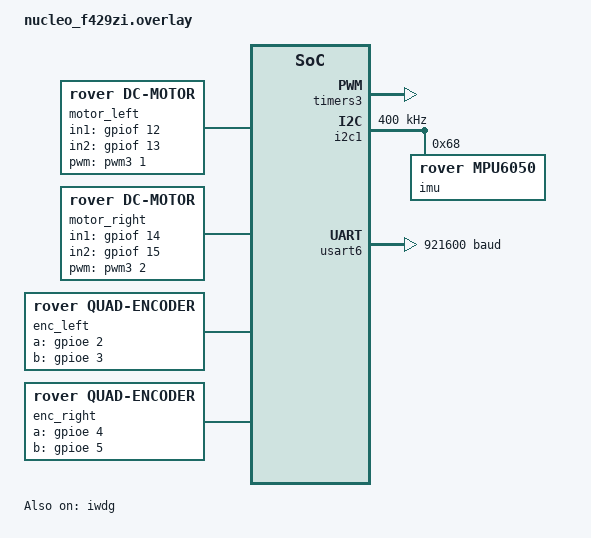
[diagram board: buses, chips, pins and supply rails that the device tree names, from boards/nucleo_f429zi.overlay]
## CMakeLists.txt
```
cmake_minimum_required(VERSION 3.20.0)
# micro-ROS is optional: it needs the extra west group and a ROS toolchain at build time.
if(ROVER_MICROROS OR "$ENV{ROVER_MICROROS}")
  list(APPEND ZEPHYR_EXTRA_MODULES
       ${CMAKE_CURRENT_LIST_DIR}/../../modules/lib/micro_ros_zephyr_module/modules/libmicroros)
endif()

find_package(Zephyr REQUIRED HINTS $ENV{ZEPHYR_BASE})
project(rover_firmware)

target_sources(app PRIVATE
  src/main.c
  src/control.c
  src/imu_task.c
  src/safety.c
  src/shell_cmds.c
)

target_sources_ifdef(CONFIG_ROVER_MICROROS app PRIVATE src/microros_link.c)
```

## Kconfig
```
mainmenu "Rover firmware"

config ROVER_CONFIRM_AFTER_MS
	int "Healthy run time before the new image is confirmed (ms)"
	default 3000
	help
	  MCUboot boots a freshly uploaded image in test mode. If it resets
	  before being confirmed (crash, watchdog), MCUboot swaps the previous
	  image back. The supervisor confirms only after this much continuous
	  healthy operation.

config ROVER_MICROROS
	bool "micro-ROS link to the Raspberry Pi"
	help
	  Needs the optional micro_ros_zephyr_module (west group "microros") and
	  the overlay app/microros.conf. See docs/microros.md.

config ROVER_TEST_BAD_IMAGE
	bool "Fault injection: hang one second after boot"
	help
	  Builds an intentionally broken image for exercising the rollback
	  path. The watchdog resets the chip before the image is confirmed, so
	  MCUboot must revert to the previous slot. Never enable in production.

source "Kconfig.zephyr"
```

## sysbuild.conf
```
# Build MCUboot alongside the app and sign the app image (ECDSA P-256).
# The default key is MCUboot's public development key: replace it for any real
# deployment (imgtool keygen) and keep the private key out of the repo.
SB_CONFIG_BOOTLOADER_MCUBOOT=y
SB_CONFIG_BOOT_SIGNATURE_TYPE_ECDSA_P256=y
SB_CONFIG_MCUBOOT_MODE_SWAP_SCRATCH=y
```

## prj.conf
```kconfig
CONFIG_GPIO=y
CONFIG_I2C=y
CONFIG_SENSOR=y
CONFIG_PWM=y
CONFIG_WATCHDOG=y
CONFIG_HWINFO=y
CONFIG_FLASH=y
CONFIG_FLASH_MAP=y
CONFIG_FPU=y
CONFIG_PICOLIBC=y
CONFIG_CBPRINTF_FP_SUPPORT=y

CONFIG_LOG=y
CONFIG_SHELL=y
CONFIG_SERIAL=y
CONFIG_CONSOLE=y
CONFIG_UART_CONSOLE=y

CONFIG_ASSERT=y
CONFIG_MAIN_STACK_SIZE=2048
CONFIG_SYS_CLOCK_TICKS_PER_SEC=10000
CONFIG_CRC=y

# MCUboot: image is confirmed by the app once it has proven itself healthy
CONFIG_BOOTLOADER_MCUBOOT=y
CONFIG_MCUBOOT_IMG_MANAGER=y
CONFIG_IMG_MANAGER=y
CONFIG_STREAM_FLASH=y

# Also emit zephyr.signed.confirmed.{bin,hex}: the image to flash the first time, marked as already
# confirmed. Over-the-air updates use the plain signed image so they stay in test mode.
CONFIG_MCUBOOT_GENERATE_CONFIRMED_IMAGE=y
```

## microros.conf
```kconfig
# Overlay for micro-ROS builds: west build ... -- -DEXTRA_CONF_FILE=microros.conf -DROVER_MICROROS=ON
# libmicroros needs newlib and the POSIX API; the default build uses picolibc.
CONFIG_ROVER_MICROROS=y
CONFIG_MICROROS=y
CONFIG_PICOLIBC=n
CONFIG_NEWLIB_LIBC=y
CONFIG_NEWLIB_LIBC_NANO=n
CONFIG_POSIX_API=y
CONFIG_CPP=y
CONFIG_UART_INTERRUPT_DRIVEN=y
CONFIG_RING_BUFFER=y
CONFIG_MAIN_STACK_SIZE=4096
```

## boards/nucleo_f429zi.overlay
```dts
/*
 * Rover pin map for NUCLEO-F429ZI.
 *
 *   IMU (I2C1)        PB8 SCL, PB9 SDA            (board default)
 *   Left motor        PWM TIM3_CH1 PC6, IN1 PF12, IN2 PF13
 *   Right motor       PWM TIM3_CH2 PC7, IN1 PF14, IN2 PF15
 *   Left encoder      A PE2, B PE3
 *   Right encoder     A PE4, B PE5
 *   Host link         USART6 PG14 TX, PG9 RX      (micro-ROS to the Pi)
 *   Console / shell   USART3 PD8/PD9              (ST-Link virtual COM)
 *
 * Encoder pins use distinct pin numbers (2..5) so no two share an EXTI line.
 *
 * Flash (2 MB): MCUboot 32K | storage 64K (fault log) | slot0 256K |
 * slot1 256K | scratch 128K, as defined by the board plus the storage
 * partition added below.
 */
#include <zephyr/dt-bindings/pwm/pwm.h>
#include <zephyr/dt-bindings/gpio/gpio.h>

/ {
	aliases {
		rover-imu = &imu;
		rover-motor-left = &motor_left;
		rover-motor-right = &motor_right;
		rover-enc-left = &enc_left;
		rover-enc-right = &enc_right;
		rover-link-uart = &usart6;
		watchdog0 = &iwdg;
	};

	motor_left: motor-left {
		compatible = "rover,dc-motor";
		pwms = <&pwm3 1 PWM_USEC(50) PWM_POLARITY_NORMAL>; /* 20 kHz */
		in1-gpios = <&gpiof 12 GPIO_ACTIVE_HIGH>;
		in2-gpios = <&gpiof 13 GPIO_ACTIVE_HIGH>;
	};

	motor_right: motor-right {
		compatible = "rover,dc-motor";
		pwms = <&pwm3 2 PWM_USEC(50) PWM_POLARITY_NORMAL>;
		in1-gpios = <&gpiof 14 GPIO_ACTIVE_HIGH>;
		in2-gpios = <&gpiof 15 GPIO_ACTIVE_HIGH>;
	};

	/* counts-per-rev = encoder PPR x gear ratio x 4; 11 PPR x 30:1 x 4 = 1320 */
	enc_left: encoder-left {
		compatible = "rover,quad-encoder";
		a-gpios = <&gpioe 2 GPIO_PULL_UP>;
		b-gpios = <&gpioe 3 GPIO_PULL_UP>;
		counts-per-rev = <1320>;
	};

	enc_right: encoder-right {
		compatible = "rover,quad-encoder";
		a-gpios = <&gpioe 4 GPIO_PULL_UP>;
		b-gpios = <&gpioe 5 GPIO_PULL_UP>;
		counts-per-rev = <1320>;
		invert; /* motors face opposite directions */
	};
};

&timers3 {
	status = "okay";

	pwm3: pwm {
		status = "okay";
		pinctrl-0 = <&tim3_ch1_pc6 &tim3_ch2_pc7>;
		pinctrl-names = "default";
	};
};

&i2c1 {
	status = "okay";
	clock-frequency = <I2C_BITRATE_FAST>;

	imu: imu@68 {
		compatible = "rover,mpu6050";
		reg = <0x68>;
		accel-range-g = <4>;
		gyro-range-dps = <500>;
		dlpf-cfg = <3>;
		sample-rate-div = <4>;
	};
};

&usart6 {
	status = "okay";
	current-speed = <921600>;
};

&iwdg {
	status = "okay";
};

&flash0 {
	partitions {
		/* sector 4 (64K): fault log. Single sector, erased only on wrap. */
		storage_partition: partition@10000 {
			label = "storage";
			reg = <0x00010000 DT_SIZE_K(64)>;
		};
	};
};
```

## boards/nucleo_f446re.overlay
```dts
/*
 * Rover pin map for NUCLEO-F446RE (Morpho / Arduino headers).
 *
 *   IMU (I2C1)        PB8 SCL, PB9 SDA            (board default)
 *   Left motor        PWM TIM3_CH1 PC6, IN1 PB0, IN2 PB1
 *   Right motor       PWM TIM3_CH2 PC7, IN1 PB12, IN2 PB13
 *   Left encoder      A PC4, B PC5
 *   Right encoder     A PC10, B PC11
 *   Host link         USART1 PB6 TX, PB7 RX       (micro-ROS to the Pi)
 *   Console / shell   USART2 PA2/PA3              (ST-Link virtual COM)
 *
 * Encoder pins use distinct pin numbers (4, 5, 10, 11) so no two share an
 * EXTI line.
 */
#include <zephyr/dt-bindings/pwm/pwm.h>
#include <zephyr/dt-bindings/gpio/gpio.h>

/ {
	aliases {
		rover-imu = &imu;
		rover-motor-left = &motor_left;
		rover-motor-right = &motor_right;
		rover-enc-left = &enc_left;
		rover-enc-right = &enc_right;
		watchdog0 = &iwdg;
	};

	motor_left: motor-left {
		compatible = "rover,dc-motor";
		pwms = <&pwm3 1 PWM_USEC(50) PWM_POLARITY_NORMAL>; /* 20 kHz */
		in1-gpios = <&gpiob 0 GPIO_ACTIVE_HIGH>;
		in2-gpios = <&gpiob 1 GPIO_ACTIVE_HIGH>;
	};

	motor_right: motor-right {
		compatible = "rover,dc-motor";
		pwms = <&pwm3 2 PWM_USEC(50) PWM_POLARITY_NORMAL>;
		in1-gpios = <&gpiob 12 GPIO_ACTIVE_HIGH>;
		in2-gpios = <&gpiob 13 GPIO_ACTIVE_HIGH>;
	};

	/* counts-per-rev = encoder PPR x gear ratio x 4; 11 PPR x 30:1 x 4 = 1320 */
	enc_left: encoder-left {
		compatible = "rover,quad-encoder";
		a-gpios = <&gpioc 4 GPIO_PULL_UP>;
		b-gpios = <&gpioc 5 GPIO_PULL_UP>;
		counts-per-rev = <1320>;
	};

	enc_right: encoder-right {
		compatible = "rover,quad-encoder";
		a-gpios = <&gpioc 10 GPIO_PULL_UP>;
		b-gpios = <&gpioc 11 GPIO_PULL_UP>;
		counts-per-rev = <1320>;
		invert; /* motors face opposite directions */
	};
};

&timers3 {
	status = "okay";

	pwm3: pwm {
		status = "okay";
		pinctrl-0 = <&tim3_ch1_pc6 &tim3_ch2_pc7>;
		pinctrl-names = "default";
	};
};

&i2c1 {
	status = "okay";
	clock-frequency = <I2C_BITRATE_FAST>;

	imu: imu@68 {
		compatible = "rover,mpu6050";
		reg = <0x68>;
		accel-range-g = <4>;
		gyro-range-dps = <500>;
		dlpf-cfg = <3>;
		sample-rate-div = <4>;
	};
};

&iwdg {
	status = "okay";
};
```

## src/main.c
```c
/*
 * Rover firmware entry point.
 * Starts sensing and the control loop, then the safety supervisor, which owns
 * the watchdog.
 */
#include <zephyr/device.h>
#include <zephyr/drivers/gpio.h>
#include <zephyr/kernel.h>
#include <zephyr/logging/log.h>
#include <zephyr/sys/printk.h>

#include "rover_state.h"

LOG_MODULE_REGISTER(rover, LOG_LEVEL_INF);

static const struct gpio_dt_spec led = GPIO_DT_SPEC_GET(DT_ALIAS(led0), gpios);

int main(void)
{
	LOG_INF("rover firmware starting");
	if (IS_ENABLED(CONFIG_ROVER_TEST_BAD_IMAGE)) {
		LOG_WRN("TEST IMAGE: this build hangs one second after start");
	}
	if (gpio_is_ready_dt(&led)) {
		gpio_pin_configure_dt(&led, GPIO_OUTPUT_INACTIVE);
	}

	/* The watchdog must not start until every task that feeds it exists. */
	if (control_start() < 0 || imu_task_start() < 0 || safety_start() < 0) {
		LOG_ERR("startup failed; motors stay off");
		for (;;) {
			gpio_pin_toggle_dt(&led); /* fast blink = fault */
			k_msleep(100);
		}
	}
	if (IS_ENABLED(CONFIG_ROVER_MICROROS)) {
		microros_start();
	}
	LOG_INF("rover firmware running");

	if (IS_ENABLED(CONFIG_ROVER_TEST_BAD_IMAGE)) {
		k_msleep(1000);
		/* printk, not LOG: deferred logging would be lost when interrupts go off below */
		printk("test: simulating a hung image\n");
		(void)irq_lock();
		for (;;) {
		}
	}

	for (;;) {
		gpio_pin_toggle_dt(&led);
		k_msleep(500);
	}
	return 0;
}
```

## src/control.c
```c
/*
 * 1 kHz wheel-velocity control loop.
 *
 * A k_timer releases a semaphore every millisecond; the control thread
 * (highest cooperative-safe priority) wakes, samples the encoders, runs a PID
 * per wheel and writes the motor duty. Wake-up latency against an ideal
 * 1 ms grid (derived from the cycle counter) is recorded as jitter.
 */
#include <math.h>

#include <zephyr/device.h>
#include <zephyr/kernel.h>
#include <zephyr/logging/log.h>

#include <rover/encoder.h>
#include <rover/encoder_math.h>
#include <rover/faultlog.h>
#include <rover/heading_filter.h>
#include <rover/jitter.h>
#include <rover/link_monitor.h>
#include <rover/motor.h>
#include <rover/pid.h>

#include "rover_state.h"

LOG_MODULE_REGISTER(control, LOG_LEVEL_INF);

#define WHEEL_RADIUS_M   0.033f
#define TRACK_WIDTH_M    0.160f
#define LOOP_HZ          1000
#define LOOP_DT          (1.0f / LOOP_HZ)
#define VEL_WINDOW       20
#define LINK_TIMEOUT_MS  250
#define MAX_WHEEL_RADS   30.0f
#define PID_KP           0.08f
#define PID_KI           0.9f
#define PID_KD           0.0f
/* feed-forward: duty per rad/s, roughly 1 / (no-load speed) */
#define FF_DUTY_PER_RADS (1.0f / 35.0f)

static const struct device *const motors[NUM_WHEELS] = {
	DEVICE_DT_GET(DT_ALIAS(rover_motor_left)),
	DEVICE_DT_GET(DT_ALIAS(rover_motor_right)),
};
static const struct device *const encoders[NUM_WHEELS] = {
	DEVICE_DT_GET(DT_ALIAS(rover_enc_left)),
	DEVICE_DT_GET(DT_ALIAS(rover_enc_right)),
};

static struct {
	struct k_spinlock lock;
	float cmd[NUM_WHEELS];
	struct rover_state state;
	struct rover_jitter jitter;
	struct rover_link_monitor link;
	float odom_heading;
} ctl;

static bool imu_present = true;

void state_set_imu_present(bool present)
{
	imu_present = present;
}

K_SEM_DEFINE(tick_sem, 0, 1);
static struct k_timer tick_timer;

/* ---- command / state API ---- */

void rover_cmd_set_wheel_velocity(float left, float right)
{
	k_spinlock_key_t key = k_spin_lock(&ctl.lock);

	ctl.cmd[WHEEL_LEFT] = CLAMP(left, -MAX_WHEEL_RADS, MAX_WHEEL_RADS);
	ctl.cmd[WHEEL_RIGHT] = CLAMP(right, -MAX_WHEEL_RADS, MAX_WHEEL_RADS);
	rover_link_feed(&ctl.link, k_uptime_get_32());
	k_spin_unlock(&ctl.lock, key);
}

void rover_cmd_heartbeat(void)
{
	k_spinlock_key_t key = k_spin_lock(&ctl.lock);

	rover_link_feed(&ctl.link, k_uptime_get_32());
	k_spin_unlock(&ctl.lock, key);
}

void rover_state_get(struct rover_state *out)
{
	k_spinlock_key_t key = k_spin_lock(&ctl.lock);

	*out = ctl.state;
	k_spin_unlock(&ctl.lock, key);
}

void rover_jitter_get(struct rover_jitter *out)
{
	k_spinlock_key_t key = k_spin_lock(&ctl.lock);

	*out = ctl.jitter;
	k_spin_unlock(&ctl.lock, key);
}

void state_publish_imu(float heading, float gyro_z, const float accel[3])
{
	k_spinlock_key_t key = k_spin_lock(&ctl.lock);

	ctl.state.heading = heading;
	ctl.state.gyro_z = gyro_z;
	for (int i = 0; i < 3; i++) {
		ctl.state.accel[i] = accel[i];
	}
	k_spin_unlock(&ctl.lock, key);
}

float state_odom_heading(void)
{
	k_spinlock_key_t key = k_spin_lock(&ctl.lock);
	const float h = ctl.odom_heading;

	k_spin_unlock(&ctl.lock, key);
	return h;
}

/* ---- the loop ---- */

static void tick_expiry(struct k_timer *t)
{
	ARG_UNUSED(t);
	k_sem_give(&tick_sem);
}

static void control_fn(void *a, void *b, void *c)
{
	ARG_UNUSED(a);
	ARG_UNUSED(b);
	ARG_UNUSED(c);

	struct rover_pid pid[NUM_WHEELS];
	struct rover_vel_est est[NUM_WHEELS];
	const uint32_t cyc_per_loop = sys_clock_hw_cycles_per_sec() / LOOP_HZ;
	bool link_was_alive = false;
	bool cutoff = false;
	int32_t prev_counts[NUM_WHEELS] = {0};
	float odom_heading = 0.0f;
	uint32_t expected;

	for (int i = 0; i < NUM_WHEELS; i++) {
		rover_pid_init(&pid[i], PID_KP, PID_KI, PID_KD, -1.0f, 1.0f);
		rover_vel_est_init(&est[i], VEL_WINDOW);
		rover_encoder_reset(encoders[i]);
	}
	rover_jitter_reset(&ctl.jitter);

	k_timer_init(&tick_timer, tick_expiry, NULL);
	expected = k_cycle_get_32() + cyc_per_loop;
	k_timer_start(&tick_timer, K_MSEC(1), K_MSEC(1));

	for (;;) {
		k_sem_take(&tick_sem, K_FOREVER);
		const uint32_t now_cyc = k_cycle_get_32();
		const int32_t err_cyc = (int32_t)(now_cyc - expected);

		expected += cyc_per_loop;

		float meas[NUM_WHEELS], cmd[NUM_WHEELS], duty[NUM_WHEELS] = {0};
		int32_t counts[NUM_WHEELS];
		const uint32_t now_ms = k_uptime_get_32();

		for (int i = 0; i < NUM_WHEELS; i++) {
			counts[i] = rover_encoder_get_count(encoders[i]);
			meas[i] = rover_vel_est_update(&est[i], counts[i],
						       (float)rover_encoder_counts_per_rev(encoders[i]),
						       LOOP_DT);
		}

		/* differential-drive heading from wheel travel: dtheta = (dR - dL) / track */
		const float rad_per_count = 6.28318531f / (float)rover_encoder_counts_per_rev(encoders[0]);

		odom_heading = rover_wrap_pi(
			odom_heading + (float)(rover_enc_delta(prev_counts[WHEEL_RIGHT], counts[WHEEL_RIGHT]) -
					       rover_enc_delta(prev_counts[WHEEL_LEFT], counts[WHEEL_LEFT])) *
					       rad_per_count * WHEEL_RADIUS_M / TRACK_WIDTH_M);
		for (int i = 0; i < NUM_WHEELS; i++) {
			prev_counts[i] = counts[i];
		}

		k_spinlock_key_t key = k_spin_lock(&ctl.lock);
		ctl.odom_heading = odom_heading;
		const bool alive = rover_link_alive(&ctl.link, now_ms);

		if (!alive) {
			/* host gone: zero the setpoints so recovery starts from rest */
			ctl.cmd[WHEEL_LEFT] = 0.0f;
			ctl.cmd[WHEEL_RIGHT] = 0.0f;
		}
		cmd[WHEEL_LEFT] = ctl.cmd[WHEEL_LEFT];
		cmd[WHEEL_RIGHT] = ctl.cmd[WHEEL_RIGHT];
		k_spin_unlock(&ctl.lock, key);

		if (link_was_alive && !alive) {
			for (int i = 0; i < NUM_WHEELS; i++) {
				rover_motor_cutoff(motors[i]);
				rover_pid_reset(&pid[i]);
			}
			cutoff = true;
			safety_log_fault(ROVER_FAULT_LINK_LOST, LINK_TIMEOUT_MS, 0);
			LOG_WRN("link lost: motors cut off");
		} else if (alive && cutoff) {
			for (int i = 0; i < NUM_WHEELS; i++) {
				rover_motor_rearm(motors[i]);
			}
			cutoff = false;
			LOG_INF("link restored: motors re-armed");
		}
		link_was_alive = alive;

		for (int i = 0; i < NUM_WHEELS; i++) {
			if (cutoff) {
				break;
			}
			duty[i] = rover_pid_update(&pid[i], cmd[i], meas[i], LOOP_DT) +
				  cmd[i] * FF_DUTY_PER_RADS;
			duty[i] = CLAMP(duty[i], -1.0f, 1.0f);
			if (cmd[i] == 0.0f && fabsf(meas[i]) < 0.2f) {
				duty[i] = 0.0f; /* hold still without hunting */
				rover_pid_reset(&pid[i]);
			}
			rover_motor_set_duty(motors[i], duty[i]);
		}

		key = k_spin_lock(&ctl.lock);
		rover_jitter_record(&ctl.jitter,
				    (int32_t)((int64_t)err_cyc * 1000000000LL /
					      sys_clock_hw_cycles_per_sec()));
		for (int i = 0; i < NUM_WHEELS; i++) {
			ctl.state.wheel_vel[i] = meas[i];
			ctl.state.wheel_cmd[i] = cmd[i];
			ctl.state.wheel_duty[i] = duty[i];
			ctl.state.wheel_count[i] = counts[i];
		}
		if (!imu_present) {
			ctl.state.heading = odom_heading;
		}
		ctl.state.link_alive = alive;
		ctl.state.motors_cut_off = cutoff;
		ctl.state.uptime_ms = now_ms;
		k_spin_unlock(&ctl.lock, key);

		safety_task_alive(TASK_CONTROL);
	}
}

K_THREAD_STACK_DEFINE(control_stack, 2048);
static struct k_thread control_thread;

int control_start(void)
{
	for (int i = 0; i < NUM_WHEELS; i++) {
		if (!device_is_ready(motors[i]) || !device_is_ready(encoders[i])) {
			LOG_ERR("wheel %d hardware not ready", i);
			return -ENODEV;
		}
	}
	rover_link_init(&ctl.link, LINK_TIMEOUT_MS);

	k_thread_create(&control_thread, control_stack, K_THREAD_STACK_SIZEOF(control_stack),
			control_fn, NULL, NULL, NULL, K_PRIO_COOP(2), 0, K_NO_WAIT);
	k_thread_name_set(&control_thread, "control");
	return 0;
}
```

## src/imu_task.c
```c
/* 200 Hz IMU sampling and heading estimation. */
#include <zephyr/device.h>
#include <zephyr/drivers/sensor.h>
#include <zephyr/kernel.h>
#include <zephyr/logging/log.h>

#include <rover/faultlog.h>
#include <rover/heading_filter.h>

#include "rover_state.h"

LOG_MODULE_REGISTER(imu_task, LOG_LEVEL_INF);

#define IMU_PERIOD_MS    5
#define HEADING_TAU_S    2.0f
#define IMU_FAULT_THRESH 20 /* consecutive failed reads before logging a fault */

static const struct device *const imu = DEVICE_DT_GET(DT_ALIAS(rover_imu));

static void imu_fn(void *a, void *b, void *c)
{
	ARG_UNUSED(a);
	ARG_UNUSED(b);
	ARG_UNUSED(c);

	struct rover_heading_filter hf;
	uint32_t fails = 0;
	int64_t next = k_uptime_get();

	rover_heading_init(&hf, HEADING_TAU_S);

	for (;;) {
		next += IMU_PERIOD_MS;
		k_sleep(K_TIMEOUT_ABS_MS(next));

		const int ret = sensor_sample_fetch(imu);

		if (ret < 0) {
			if (++fails == IMU_FAULT_THRESH) {
				safety_log_fault(ROVER_FAULT_IMU, (uint32_t)-ret, 0);
				LOG_ERR("IMU read failing (%d)", ret);
			}
			safety_task_alive(TASK_IMU); /* a bad sensor is a fault, not a hang */
			continue;
		}
		fails = 0;

		struct sensor_value acc[3], gyr[3];
		float accel[3];

		sensor_channel_get(imu, SENSOR_CHAN_ACCEL_XYZ, acc);
		sensor_channel_get(imu, SENSOR_CHAN_GYRO_XYZ, gyr);
		for (int i = 0; i < 3; i++) {
			accel[i] = sensor_value_to_float(&acc[i]);
		}
		const float gyro_z = sensor_value_to_float(&gyr[2]);
		const float heading = rover_heading_update(&hf, gyro_z, state_odom_heading(), true,
							   IMU_PERIOD_MS / 1000.0f);

		state_publish_imu(heading, gyro_z, accel);
		safety_task_alive(TASK_IMU);
	}
}

K_THREAD_STACK_DEFINE(imu_stack, 2048);
static struct k_thread imu_thread;

int imu_task_start(void)
{
	if (!device_is_ready(imu)) {
		/* Degraded mode: wheel odometry still gives heading and the rover can drive. */
		LOG_WRN("IMU not ready; continuing without it");
		safety_log_fault(ROVER_FAULT_IMU, ENODEV, 0);
		safety_task_optional(TASK_IMU);
		state_set_imu_present(false);
		return 0;
	}
	k_thread_create(&imu_thread, imu_stack, K_THREAD_STACK_SIZEOF(imu_stack), imu_fn, NULL,
			NULL, NULL, K_PRIO_PREEMPT(5), 0, K_NO_WAIT);
	k_thread_name_set(&imu_thread, "imu");
	return 0;
}
```

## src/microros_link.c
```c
/*
 * micro-ROS link to the Raspberry Pi over UART (XRCE-DDS, serial framing).
 *
 * Publishes  rover/wheel_state (rover_msgs/WheelState) and rover/imu (sensor_msgs/Imu) at 50 Hz.
 * Subscribes rover/wheel_cmd   (rover_msgs/WheelCmd), which also acts as the heartbeat for
 * the link monitor: if commands stop, the control loop cuts the motors on its own.
 *
 * The transport is our own (not the module's) so it can use the dedicated link UART instead
 * of a hardcoded USART.
 */
#include <math.h>
#include <string.h>

#include <zephyr/device.h>
#include <zephyr/drivers/uart.h>
#include <zephyr/kernel.h>
#include <zephyr/logging/log.h>
#include <zephyr/sys/ring_buffer.h>

#include <rcl/rcl.h>
#include <rclc/executor.h>
#include <rclc/rclc.h>
#include <rmw_microros/rmw_microros.h>
#include <rover_msgs/msg/wheel_cmd.h>
#include <rover_msgs/msg/wheel_state.h>
#include <sensor_msgs/msg/imu.h>
#include <uxr/client/transport.h>

#include "rover_state.h"

LOG_MODULE_REGISTER(microros, LOG_LEVEL_INF);

#define PUBLISH_PERIOD_MS 20
#define PING_TIMEOUT_MS   100
#define MAX_MISSED_PINGS  5

static const struct device *const link_uart = DEVICE_DT_GET(DT_ALIAS(rover_link_uart));
static const float rad_per_count[NUM_WHEELS] = {
	6.2831853f / DT_PROP(DT_ALIAS(rover_enc_left), counts_per_rev),
	6.2831853f / DT_PROP(DT_ALIAS(rover_enc_right), counts_per_rev),
};

/* ---- UART transport ---- */

RING_BUF_DECLARE(rx_ring, 512);

static void uart_isr(const struct device *dev, void *user)
{
	uint8_t buf[32];

	ARG_UNUSED(user);
	while (uart_irq_update(dev) && uart_irq_rx_ready(dev)) {
		const int n = uart_fifo_read(dev, buf, sizeof(buf));

		if (n <= 0) {
			break;
		}
		ring_buf_put(&rx_ring, buf, n);
	}
}

static bool transport_open(struct uxrCustomTransport *t)
{
	ARG_UNUSED(t);
	if (!device_is_ready(link_uart)) {
		return false;
	}
	ring_buf_reset(&rx_ring);
	uart_irq_callback_user_data_set(link_uart, uart_isr, NULL);
	uart_irq_rx_enable(link_uart);
	return true;
}

static bool transport_close(struct uxrCustomTransport *t)
{
	ARG_UNUSED(t);
	uart_irq_rx_disable(link_uart);
	return true;
}

static size_t transport_write(struct uxrCustomTransport *t, const uint8_t *buf, size_t len,
			      uint8_t *err)
{
	ARG_UNUSED(t);
	for (size_t i = 0; i < len; i++) {
		uart_poll_out(link_uart, buf[i]);
	}
	*err = 0;
	return len;
}

static size_t transport_read(struct uxrCustomTransport *t, uint8_t *buf, size_t len, int timeout,
			     uint8_t *err)
{
	const int64_t deadline = k_uptime_get() + timeout;
	size_t got = 0;

	ARG_UNUSED(t);
	*err = 0;
	for (;;) {
		got += ring_buf_get(&rx_ring, buf + got, len - got);
		if (got == len || k_uptime_get() >= deadline) {
			return got;
		}
		k_msleep(1);
	}
}

/* ---- ROS entities ---- */

static rcl_publisher_t state_pub, imu_pub;
static rcl_subscription_t cmd_sub;
static rcl_timer_t timer;
static rclc_support_t support;
static rcl_node_t node;
static rclc_executor_t executor;
static rcl_allocator_t allocator;

static rover_msgs__msg__WheelState state_msg;
static rover_msgs__msg__WheelCmd cmd_msg;
static sensor_msgs__msg__Imu imu_msg;
static char imu_frame[] = "imu_link";

static void cmd_cb(const void *msgin)
{
	const rover_msgs__msg__WheelCmd *m = msgin;

	rover_cmd_set_wheel_velocity(m->left, m->right);
}

static void timer_cb(rcl_timer_t *t, int64_t last_call)
{
	struct rover_state s;

	ARG_UNUSED(last_call);
	if (t == NULL) {
		return;
	}
	rover_state_get(&s);

	state_msg.left_pos = s.wheel_count[WHEEL_LEFT] * rad_per_count[WHEEL_LEFT];
	state_msg.right_pos = s.wheel_count[WHEEL_RIGHT] * rad_per_count[WHEEL_RIGHT];
	state_msg.left_vel = s.wheel_vel[WHEEL_LEFT];
	state_msg.right_vel = s.wheel_vel[WHEEL_RIGHT];
	state_msg.heading = s.heading;
	state_msg.link_alive = s.link_alive;
	state_msg.motors_cut_off = s.motors_cut_off;
	state_msg.uptime_ms = s.uptime_ms;
	rcl_publish(&state_pub, &state_msg, NULL);

	const int64_t ms = k_uptime_get();

	imu_msg.header.stamp.sec = (int32_t)(ms / 1000);
	imu_msg.header.stamp.nanosec = (uint32_t)((ms % 1000) * 1000000);
	imu_msg.orientation.z = sinf(s.heading * 0.5f);
	imu_msg.orientation.w = cosf(s.heading * 0.5f);
	imu_msg.angular_velocity.z = s.gyro_z;
	imu_msg.linear_acceleration.x = s.accel[0];
	imu_msg.linear_acceleration.y = s.accel[1];
	imu_msg.linear_acceleration.z = s.accel[2];
	rcl_publish(&imu_pub, &imu_msg, NULL);
}

static void imu_msg_init(void)
{
	sensor_msgs__msg__Imu__init(&imu_msg);
	imu_msg.header.frame_id.data = imu_frame;
	imu_msg.header.frame_id.size = sizeof(imu_frame) - 1;
	imu_msg.header.frame_id.capacity = sizeof(imu_frame);
	/* diagonal covariances: roll/pitch unobserved, yaw from the heading filter */
	imu_msg.orientation_covariance[0] = 1e3;
	imu_msg.orientation_covariance[4] = 1e3;
	imu_msg.orientation_covariance[8] = 0.02;
	imu_msg.angular_velocity_covariance[0] = 0.01;
	imu_msg.angular_velocity_covariance[4] = 0.01;
	imu_msg.angular_velocity_covariance[8] = 0.0004;
	imu_msg.linear_acceleration_covariance[0] = 0.05;
	imu_msg.linear_acceleration_covariance[4] = 0.05;
	imu_msg.linear_acceleration_covariance[8] = 0.05;
}

static bool entities_create(void)
{
	allocator = rcl_get_default_allocator();
	if (rclc_support_init(&support, 0, NULL, &allocator) != RCL_RET_OK ||
	    rclc_node_init_default(&node, "rover_fw", "", &support) != RCL_RET_OK) {
		return false;
	}
	if (rclc_publisher_init_best_effort(&state_pub, &node,
					    ROSIDL_GET_MSG_TYPE_SUPPORT(rover_msgs, msg, WheelState),
					    "rover/wheel_state") != RCL_RET_OK ||
	    rclc_publisher_init_best_effort(&imu_pub, &node,
					    ROSIDL_GET_MSG_TYPE_SUPPORT(sensor_msgs, msg, Imu),
					    "rover/imu") != RCL_RET_OK ||
	    rclc_subscription_init_best_effort(&cmd_sub, &node,
					       ROSIDL_GET_MSG_TYPE_SUPPORT(rover_msgs, msg, WheelCmd),
					       "rover/wheel_cmd") != RCL_RET_OK ||
	    rclc_timer_init_default2(&timer, &support, RCL_MS_TO_NS(PUBLISH_PERIOD_MS), timer_cb,
				     true) != RCL_RET_OK) {
		return false;
	}
	executor = rclc_executor_get_zero_initialized_executor();
	return rclc_executor_init(&executor, &support.context, 2, &allocator) == RCL_RET_OK &&
	       rclc_executor_add_timer(&executor, &timer) == RCL_RET_OK &&
	       rclc_executor_add_subscription(&executor, &cmd_sub, &cmd_msg, cmd_cb, ON_NEW_DATA) ==
		       RCL_RET_OK;
}

static void entities_destroy(void)
{
	rmw_context_t *rmw = rcl_context_get_rmw_context(&support.context);

	(void)rmw_uros_set_context_entity_destroy_session_timeout(rmw, 0);
	rcl_publisher_fini(&state_pub, &node);
	rcl_publisher_fini(&imu_pub, &node);
	rcl_subscription_fini(&cmd_sub, &node);
	rcl_timer_fini(&timer);
	rclc_executor_fini(&executor);
	rcl_node_fini(&node);
	rclc_support_fini(&support);
}

static void microros_fn(void *a, void *b, void *c)
{
	ARG_UNUSED(a);
	ARG_UNUSED(b);
	ARG_UNUSED(c);

	rover_msgs__msg__WheelState__init(&state_msg);
	rover_msgs__msg__WheelCmd__init(&cmd_msg);
	imu_msg_init();

	rmw_uros_set_custom_transport(true, NULL, transport_open, transport_close, transport_write,
				      transport_read);

	for (;;) {
		/* wait for the agent on the Pi; the control loop is safe either way */
		while (rmw_uros_ping_agent(PING_TIMEOUT_MS, 1) != RMW_RET_OK) {
			k_msleep(200);
		}
		if (!entities_create()) {
			LOG_ERR("micro-ROS entity creation failed; retrying");
			entities_destroy();
			k_msleep(1000);
			continue;
		}
		LOG_INF("micro-ROS agent connected");

		int missed = 0;

		while (missed < MAX_MISSED_PINGS) {
			rclc_executor_spin_some(&executor, RCL_MS_TO_NS(10));
			missed = (rmw_uros_ping_agent(20, 1) == RMW_RET_OK) ? 0 : missed + 1;
		}
		LOG_WRN("micro-ROS agent lost; reconnecting");
		entities_destroy();
	}
}

K_THREAD_STACK_DEFINE(microros_stack, 16384);
static struct k_thread microros_thread;

int microros_start(void)
{
	k_thread_create(&microros_thread, microros_stack, K_THREAD_STACK_SIZEOF(microros_stack),
			microros_fn, NULL, NULL, NULL, K_PRIO_PREEMPT(6), 0, K_NO_WAIT);
	k_thread_name_set(&microros_thread, "microros");
	return 0;
}
```

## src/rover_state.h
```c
#ifndef ROVER_STATE_H_
#define ROVER_STATE_H_

#include <stdbool.h>
#include <stdint.h>

#include <rover/jitter.h>

#define NUM_WHEELS 2
#define WHEEL_LEFT  0
#define WHEEL_RIGHT 1

/* Snapshot of everything the host link reports. */
struct rover_state {
	float wheel_vel[NUM_WHEELS]; /* measured, rad/s */
	float wheel_cmd[NUM_WHEELS]; /* setpoint, rad/s */
	float wheel_duty[NUM_WHEELS];
	int32_t wheel_count[NUM_WHEELS];
	float heading;  /* rad, complementary-filtered */
	float gyro_z;   /* rad/s */
	float accel[3]; /* m/s^2 */
	bool link_alive;
	bool motors_cut_off;
	uint32_t uptime_ms;
};

/* ---- command side (called from the host-link thread or shell) ---- */

/* Set wheel velocity setpoints (rad/s). Also counts as a link heartbeat. */
void rover_cmd_set_wheel_velocity(float left, float right);
/* Heartbeat without a new setpoint. */
void rover_cmd_heartbeat(void);

/* ---- state side ---- */

void rover_state_get(struct rover_state *out);
void rover_jitter_get(struct rover_jitter *out);

/* ---- subsystem entry points ---- */

int control_start(void);
int imu_task_start(void);
int safety_start(void);
/* Only built with CONFIG_ROVER_MICROROS (see app/microros.conf). */
int microros_start(void);

/* Used by the tasks to report liveness to the watchdog supervisor. */
enum task_id {
	TASK_CONTROL = 0,
	TASK_IMU = 1,
	TASK_COUNT
};
void safety_task_alive(enum task_id id);
/* Mark a task as absent by design (e.g. no IMU fitted): the watchdog stops expecting it. */
void safety_task_optional(enum task_id id);
/* Tell the control loop whether an IMU provides heading; if not it uses wheel odometry. */
void state_set_imu_present(bool present);

/* Record a fault in the flash log (no-op if the log is unavailable). */
void safety_log_fault(uint16_t code, uint32_t arg0, uint32_t arg1);

/* Used by the imu task to publish its latest measurements. */
void state_publish_imu(float heading, float gyro_z, const float accel[3]);
/* Latest wheel-odometry heading for the complementary filter reference (rad). */
float state_odom_heading(void);

#endif /* ROVER_STATE_H_ */
```

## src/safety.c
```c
/*
 * Safety supervisor: hardware watchdog, fault log, and boot-cause reporting.
 *
 * Every critical task calls safety_task_alive() each cycle. The supervisor
 * feeds the watchdog only while all of them are checking in; if one stops, it
 * cuts the motors, records which task stalled, and lets the watchdog reset the
 * chip.
 */
#include <zephyr/device.h>
#include <zephyr/drivers/hwinfo.h>
#include <zephyr/drivers/watchdog.h>
#include <zephyr/kernel.h>
#include <zephyr/logging/log.h>
#include <zephyr/shell/shell.h>
#include <zephyr/storage/flash_map.h>
#ifdef CONFIG_BOOTLOADER_MCUBOOT
#include <zephyr/dfu/mcuboot.h>
#endif

#include <rover/faultlog.h>
#include <rover/motor.h>

#include "rover_state.h"

LOG_MODULE_REGISTER(safety, LOG_LEVEL_INF);

#define WDT_TIMEOUT_MS 200
#define SUPERVISOR_MS  20
#define STALL_LIMIT_MS 100
#define FAULT_Q_DEPTH  8
#define FAULT_LOG_AREA PARTITION_ID(storage_partition)

struct fault_msg {
	uint16_t code;
	uint32_t arg0;
	uint32_t arg1;
	uint32_t uptime_ms;
};

static const struct device *const wdt = DEVICE_DT_GET(DT_ALIAS(watchdog0));
static const struct device *const motors[] = {
	DEVICE_DT_GET(DT_ALIAS(rover_motor_left)),
	DEVICE_DT_GET(DT_ALIAS(rover_motor_right)),
};

K_MSGQ_DEFINE(fault_q, sizeof(struct fault_msg), FAULT_Q_DEPTH, 4);
static atomic_t alive_bits;
static atomic_t optional_bits; /* tasks that are absent by design */
static int64_t last_seen_ms[TASK_COUNT];
static struct rover_faultlog flog;
static bool flog_ok;
static int wdt_channel = -1;

void safety_task_alive(enum task_id id)
{
	atomic_or(&alive_bits, BIT(id));
}

void safety_task_optional(enum task_id id)
{
	atomic_or(&optional_bits, BIT(id));
}

/* Queued so a slow flash write never blocks the 1 kHz loop. */
void safety_log_fault(uint16_t code, uint32_t arg0, uint32_t arg1)
{
	const struct fault_msg m = {code, arg0, arg1, k_uptime_get_32()};

	if (k_msgq_put(&fault_q, &m, K_NO_WAIT) != 0) {
		LOG_WRN("fault queue full, dropped code %u", code);
	}
}

static void drain_faults(void)
{
	struct fault_msg m;

	while (k_msgq_get(&fault_q, &m, K_NO_WAIT) == 0) {
		if (flog_ok && rover_faultlog_append(&flog, m.code, m.arg0, m.arg1, m.uptime_ms) < 0) {
			LOG_ERR("fault log write failed");
		}
	}
}

static void cut_all_motors(void)
{
	for (size_t i = 0; i < ARRAY_SIZE(motors); i++) {
		rover_motor_cutoff(motors[i]);
	}
}

static int watchdog_setup(void)
{
	const struct wdt_timeout_cfg cfg = {
		.window = {.min = 0, .max = WDT_TIMEOUT_MS},
		.flags = WDT_FLAG_RESET_SOC,
	};

	if (!device_is_ready(wdt)) {
		LOG_ERR("watchdog not ready");
		return -ENODEV;
	}
	wdt_channel = wdt_install_timeout(wdt, &cfg);
	if (wdt_channel < 0) {
		return wdt_channel;
	}
	return wdt_setup(wdt, WDT_OPT_PAUSE_HALTED_BY_DBG);
}

static void report_boot_cause(void)
{
	uint32_t cause = 0;

	hwinfo_get_reset_cause(&cause);
	hwinfo_clear_reset_cause();
	safety_log_fault(ROVER_FAULT_BOOT, cause, 0);
	if (cause & RESET_WATCHDOG) {
		safety_log_fault(ROVER_FAULT_WATCHDOG, 0, 0);
		LOG_WRN("previous run ended in a watchdog reset");
	}
}

static void supervisor_fn(void *a, void *b, void *c)
{
	ARG_UNUSED(a);
	ARG_UNUSED(b);
	ARG_UNUSED(c);

	bool stalled_logged = false;
	int64_t healthy_since = k_uptime_get();
	bool confirmed = false;
	ARG_UNUSED(confirmed);

	for (int i = 0; i < TASK_COUNT; i++) {
		last_seen_ms[i] = k_uptime_get();
	}

	for (;;) {
		k_msleep(SUPERVISOR_MS);
		drain_faults();

		const atomic_val_t seen = atomic_clear(&alive_bits) | atomic_get(&optional_bits);
		const int64_t now = k_uptime_get();
		bool healthy = true;

		for (int i = 0; i < TASK_COUNT; i++) {
			if (seen & BIT(i)) {
				last_seen_ms[i] = now;
			} else if (now - last_seen_ms[i] > STALL_LIMIT_MS) {
				healthy = false;
				if (!stalled_logged) {
					stalled_logged = true;
					cut_all_motors();
					if (flog_ok) {
						rover_faultlog_append(&flog, ROVER_FAULT_WATCHDOG, i,
								      0, (uint32_t)now);
					}
					LOG_ERR("task %d stalled; letting watchdog reset", i);
				}
			}
		}

		if (healthy) {
			wdt_feed(wdt, wdt_channel);
		} else {
			healthy_since = now;
		}

#ifdef CONFIG_BOOTLOADER_MCUBOOT
		/* Confirm the running image only after a stretch of proven health;
		 * until then a reset makes MCUboot roll back to the previous image.
		 */
		if (!confirmed && now - healthy_since >= CONFIG_ROVER_CONFIRM_AFTER_MS) {
			confirmed = true;
			int rc = 0;

			if (!boot_is_img_confirmed()) {
				rc = boot_write_img_confirmed();
			}
			if (rc == 0) {
				LOG_INF("image confirmed");
			} else {
				LOG_ERR("could not confirm image (%d); MCUboot will revert on reset", rc);
			}
		}
#endif
		/* unhealthy: stop feeding, the IWDG resets the chip within WDT_TIMEOUT_MS */
	}
}

K_THREAD_STACK_DEFINE(supervisor_stack, 2048);
static struct k_thread supervisor_thread;

int safety_start(void)
{
	int ret = rover_faultlog_init(&flog, FAULT_LOG_AREA);

	flog_ok = (ret == 0);
	if (!flog_ok) {
		LOG_ERR("fault log init failed (%d); continuing without it", ret);
	}
	report_boot_cause();
	drain_faults();

	ret = watchdog_setup();
	if (ret < 0) {
		LOG_ERR("watchdog setup failed (%d)", ret);
		return ret;
	}

	k_thread_create(&supervisor_thread, supervisor_stack,
			K_THREAD_STACK_SIZEOF(supervisor_stack), supervisor_fn, NULL, NULL, NULL,
			K_PRIO_COOP(1), 0, K_NO_WAIT);
	k_thread_name_set(&supervisor_thread, "supervisor");
	return 0;
}

/* ---- shell access to the fault log ---- */

static int cmd_faults(const struct shell *sh, size_t argc, char **argv)
{
	struct rover_fault_rec r;

	ARG_UNUSED(argc);
	ARG_UNUSED(argv);
	if (!flog_ok) {
		shell_error(sh, "fault log unavailable");
		return -ENODEV;
	}
	for (uint32_t age = 0; age < 16 && rover_faultlog_read(&flog, age, &r) == 0; age++) {
		shell_print(sh, "#%u t=%ums code=%u arg0=%u arg1=%u", r.seq, r.uptime_ms, r.code,
			    r.arg0, r.arg1);
	}
	return 0;
}

static int cmd_faults_clear(const struct shell *sh, size_t argc, char **argv)
{
	ARG_UNUSED(argc);
	ARG_UNUSED(argv);
	if (!flog_ok) {
		return -ENODEV;
	}
	shell_print(sh, "fault log cleared");
	return rover_faultlog_clear(&flog);
}

SHELL_STATIC_SUBCMD_SET_CREATE(faults_sub,
	SHELL_CMD(clear, NULL, "erase the fault log", cmd_faults_clear),
	SHELL_SUBCMD_SET_END);
SHELL_CMD_REGISTER(faults, &faults_sub, "show newest fault log records", cmd_faults);
```

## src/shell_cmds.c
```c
/* Bench-test shell: drive wheels and inspect state without the host link. */
#include <stdlib.h>

#include <zephyr/shell/shell.h>

#include "rover_state.h"

static int cmd_vel(const struct shell *sh, size_t argc, char **argv)
{
	if (argc != 3) {
		shell_error(sh, "usage: rover vel <left rad/s> <right rad/s>");
		return -EINVAL;
	}
	rover_cmd_set_wheel_velocity(strtof(argv[1], NULL), strtof(argv[2], NULL));
	return 0;
}

static int cmd_hb(const struct shell *sh, size_t argc, char **argv)
{
	ARG_UNUSED(sh);
	ARG_UNUSED(argc);
	ARG_UNUSED(argv);
	rover_cmd_heartbeat();
	return 0;
}

static int cmd_state(const struct shell *sh, size_t argc, char **argv)
{
	struct rover_state s;

	ARG_UNUSED(argc);
	ARG_UNUSED(argv);
	rover_state_get(&s);
	shell_print(sh, "link=%d cutoff=%d up=%ums", s.link_alive, s.motors_cut_off, s.uptime_ms);
	for (int i = 0; i < NUM_WHEELS; i++) {
		shell_print(sh, "wheel%d cmd=%.2f meas=%.2f duty=%.2f count=%d", i,
			    (double)s.wheel_cmd[i], (double)s.wheel_vel[i], (double)s.wheel_duty[i],
			    s.wheel_count[i]);
	}
	shell_print(sh, "heading=%.3f rad gyro_z=%.3f rad/s", (double)s.heading, (double)s.gyro_z);
	shell_print(sh, "accel=%.2f %.2f %.2f m/s2", (double)s.accel[0], (double)s.accel[1],
		    (double)s.accel[2]);
	return 0;
}

static int cmd_jitter(const struct shell *sh, size_t argc, char **argv)
{
	static const char *const labels[] = {"<10us",  "<50us", "<100us", "<250us",
					     "<500us", "<1ms",  ">=1ms"};
	struct rover_jitter j;

	ARG_UNUSED(argc);
	ARG_UNUSED(argv);
	rover_jitter_get(&j);
	shell_print(sh, "samples=%u mean=%dns min=%dns max=%dns max|e|=%uns", j.count,
		    rover_jitter_mean_ns(&j), j.min_ns, j.max_ns, j.max_abs_ns);
	for (int i = 0; i < ROVER_JITTER_BUCKETS; i++) {
		shell_print(sh, "  %-7s %u", labels[i], j.hist[i]);
	}
	return 0;
}

SHELL_STATIC_SUBCMD_SET_CREATE(rover_sub,
	SHELL_CMD(vel, NULL, "vel <left> <right>: wheel setpoints in rad/s", cmd_vel),
	SHELL_CMD(hb, NULL, "send a link heartbeat", cmd_hb),
	SHELL_CMD(state, NULL, "print wheel/IMU state", cmd_state),
	SHELL_CMD(jitter, NULL, "1 kHz loop timing statistics", cmd_jitter),
	SHELL_SUBCMD_SET_END);
SHELL_CMD_REGISTER(rover, &rover_sub, "rover bench commands", NULL);
```
